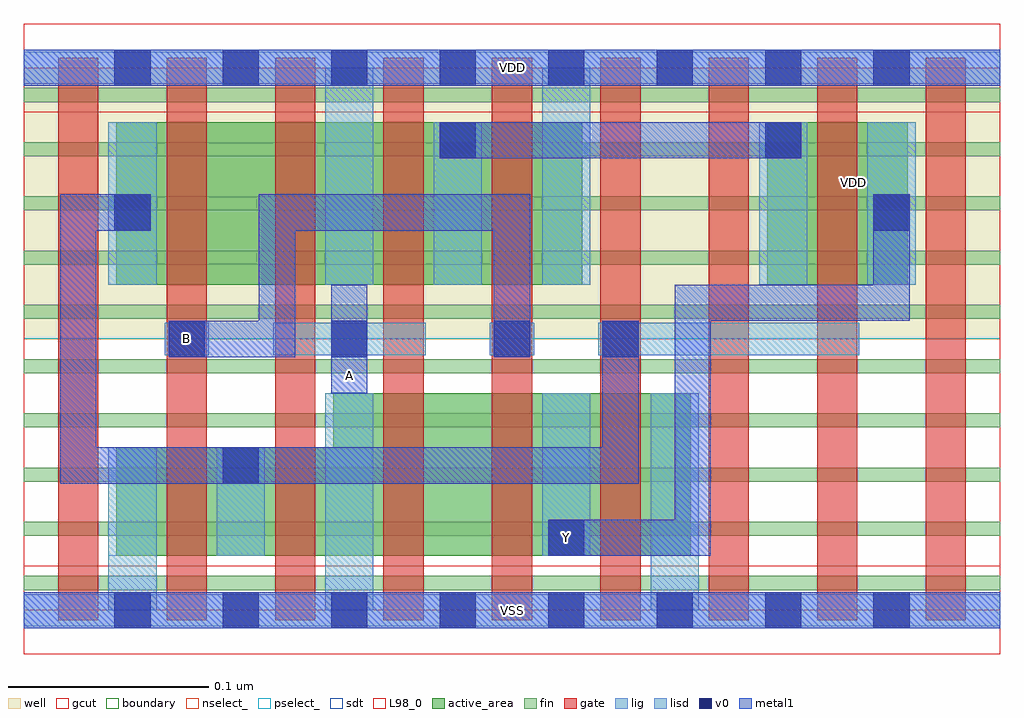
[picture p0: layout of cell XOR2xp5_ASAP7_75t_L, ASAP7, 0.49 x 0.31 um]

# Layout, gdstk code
import gdstk
lib = gdstk.Library(unit=1e-6, precision=2.5e-10)
def R(c, l, rs):  # rectangles x0, y0, x1, y1
    for r in rs: c.add(gdstk.rectangle(r[:2], r[2:], *l))
def A(c, l, x, y, w, h, nx, ny, dx, dy):  # array of equal rectangles
    R(c, l, [(x+i*dx, y+j*dy, x+i*dx+w, y+j*dy+h) for i in range(nx) for j in range(ny)])
def P(c, l, *ps):  # polygons
    for p in ps: c.add(gdstk.Polygon(p, *l))
well = (1, 0)
fin = (2, 0)
gate = (7, 0)
gcut = (10, 0)
active_area = (11, 0)
nselect_ = (12, 0)
pselect_ = (13, 0)
lig = (16, 0)
lisd = (17, 0)
v0 = (18, 0)
metal1 = (19, 0)
sdt = (88, 0)
L98_0 = (98, 0)
boundary = (100, 0)

xor2xp5_asap7_75t_l = lib.new_cell('XOR2xp5_ASAP7_75t_L')
R(xor2xp5_asap7_75t_l, well, [(0,0.135,0.486,0.27)])
A(xor2xp5_asap7_75t_l, fin, 0, 0.01, 0.486, 0.007, 1, 10, 0, 0.027)
A(xor2xp5_asap7_75t_l, gate, 0.017, -0.005, 0.02, 0.28, 9, 1, 0.054, 0)
R(xor2xp5_asap7_75t_l, gcut, [(0,-0.022,0.486,0.022), (0,0.248,0.486,0.292)])
R(xor2xp5_asap7_75t_l, active_area, [(0.046,0.162,0.278,0.243), (0.37,0.162,0.44,0.243)])
P(xor2xp5_asap7_75t_l, active_area, [(0.046,0.027),(0.046,0.081),(0.154,0.081),(0.154,0.108),(0.332,0.108),(0.332,0.027)])
R(xor2xp5_asap7_75t_l, nselect_, [(0,0,0.486,0.135)])
R(xor2xp5_asap7_75t_l, pselect_, [(0,0.135,0.486,0.27)])
R(xor2xp5_asap7_75t_l, lig, [(0,-0.008,0.486,0.008), (0.07,0.127,0.092,0.143), (0.124,0.127,0.2,0.143), (0.232,0.127,0.254,0.143), (0.286,0.127,0.416,0.143), (0,0.262,0.486,0.278)])
A(xor2xp5_asap7_75t_l, lisd, 0.042, 0.162, 0.024, 0.081, 3, 1, 0.162, 0)
R(xor2xp5_asap7_75t_l, lisd, [(0.042,0,0.066,0.081), (0.15,0,0.174,0.108), (0.312,0,0.336,0.108), (0.096,0.027,0.12,0.081), (0.258,0.027,0.282,0.108), (0.15,0.162,0.174,0.27), (0.258,0.162,0.282,0.27), (0.42,0.162,0.444,0.243)])
A(xor2xp5_asap7_75t_l, v0, 0.045, -0.009, 0.018, 0.018, 8, 2, 0.054, 0.27)
A(xor2xp5_asap7_75t_l, v0, 0.072, 0.126, 0.018, 0.018, 3, 1, 0.081, 0)
R(xor2xp5_asap7_75t_l, v0, [(0.261,0.027,0.279,0.045), (0.099,0.063,0.117,0.081), (0.288,0.126,0.306,0.144), (0.045,0.189,0.063,0.207), (0.423,0.189,0.441,0.207), (0.207,0.225,0.225,0.243), (0.369,0.225,0.387,0.243)])
R(xor2xp5_asap7_75t_l, metal1, [(0,-0.009,0.486,0.009), (0.288,0.063,0.306,0.144), (0.153,0.108,0.171,0.162), (0.207,0.225,0.387,0.243), (0,0.261,0.486,0.279)])
P(xor2xp5_asap7_75t_l, metal1, [(0.072,0.126),(0.072,0.144),(0.117,0.144),(0.117,0.207),(0.252,0.207),(0.252,0.126),(0.234,0.126),(0.234,0.189),(0.135,0.189),(0.135,0.126)],
  [(0.018,0.063),(0.018,0.207),(0.063,0.207),(0.063,0.189),(0.036,0.189),(0.036,0.081),(0.306,0.081),(0.306,0.063)],
  [(0.261,0.027),(0.261,0.045),(0.324,0.045),(0.324,0.162),(0.423,0.162),(0.423,0.207),(0.441,0.207),(0.441,0.144),(0.342,0.144),(0.342,0.027)])
A(xor2xp5_asap7_75t_l, sdt, 0.15, 0.162, 0.024, 0.081, 3, 1, 0.054, 0)
R(xor2xp5_asap7_75t_l, sdt, [(0.042,0.027,0.066,0.081), (0.096,0.027,0.12,0.081), (0.15,0.027,0.174,0.108), (0.258,0.027,0.282,0.108), (0.312,0.027,0.336,0.108), (0.042,0.162,0.066,0.243), (0.366,0.162,0.39,0.243), (0.42,0.162,0.444,0.243)])
R(xor2xp5_asap7_75t_l, L98_0, [(0,0,0.486,0.27)])
R(xor2xp5_asap7_75t_l, boundary, [(0,0,0.486,0.27)])
xor2xp5_asap7_75t_l.add(gdstk.Label('B', (0.081,0.135), layer=19, texttype=251))
xor2xp5_asap7_75t_l.add(gdstk.Label('A', (0.162,0.117), layer=19, texttype=251))
xor2xp5_asap7_75t_l.add(gdstk.Label('VSS', (0.243,0), layer=19, texttype=251))
xor2xp5_asap7_75t_l.add(gdstk.Label('VDD', (0.243,0.27), layer=19, texttype=251))
xor2xp5_asap7_75t_l.add(gdstk.Label('Y', (0.27,0.036), layer=19, texttype=251))
xor2xp5_asap7_75t_l.add(gdstk.Label('VDD', (0.413,0.213), layer=1, texttype=251))
xor2xp5_asap7_75t_l.add(gdstk.Label('VSS', (0.559,0.213), layer=3, texttype=251))

lib.write_gds('XOR2xp5_ASAP7_75t_L.gds')
